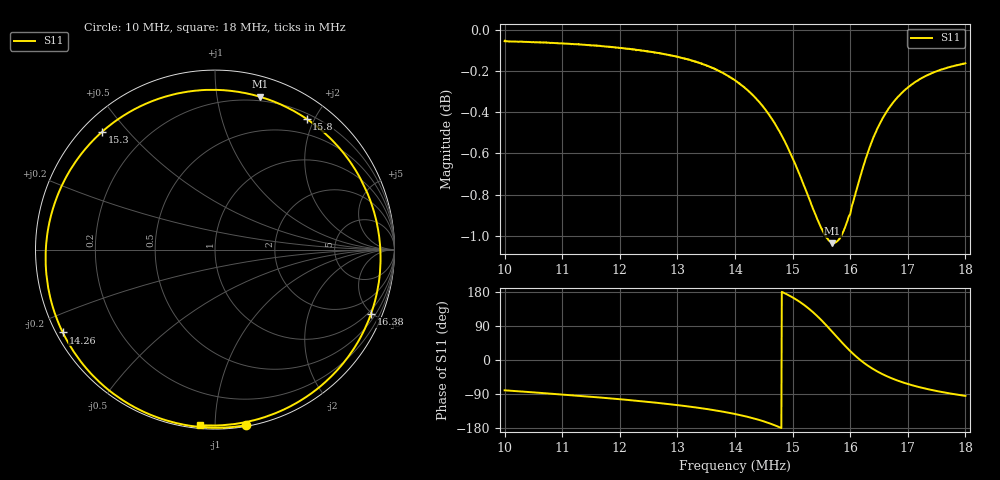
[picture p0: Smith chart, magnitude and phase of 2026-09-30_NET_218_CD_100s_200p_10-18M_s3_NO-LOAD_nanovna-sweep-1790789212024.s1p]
! NanoVNA Web complex sweep
! Processing: unaveraged complex samples; linear segment spacing; no smoothing
# Hz S RI R 50
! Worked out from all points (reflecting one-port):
!   1010 points, 10 MHz to 18 MHz, reference 50 ohm
!   lowest |S11| = -1.0 dB at 15.69 MHz (marker M1), VSWR 16.76, Z = 8.24 + j66.1 ohm
!   phase of S11 starts at -80 deg and turns -375 deg over the sweep
!   S11 on the Smith chart (normalised r, x): 10 MHz: 0.01, -1.19; 14.26 MHz: 0.02, -0.25; 15.3 MHz: 0.06, +0.43; 15.8 MHz: 0.27, +1.89; 16.38 MHz: 0.80, -4.92; 18 MHz: 0.02, -0.92
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1e7  0.1731 -0.9786
1.100698e7  -0.0196 -0.9922
1.200604e7  -0.2321 -0.9624
1.300509e7  -0.4787 -0.8609
1.355219e7  -0.6342 -0.7469
1.400414e7  -0.7721 -0.5907
1.425787e7  -0.8481 -0.4618
1.464639e7  -0.9359 -0.1702
1.484462e7  -0.9398 0.0398
1.50032e7  -0.8985 0.2421
1.515385e7  -0.7991 0.4556
1.529657e7  -0.6284 0.6571
1.539965e7  -0.4502 0.7813
1.551066e7  -0.2089 0.8699
1.56058e7  0.0271 0.8894
1.569302e7  0.2491 0.8517
1.580403e7  0.5106 0.7281
1.59071e7  0.7049 0.5517
1.600225e7  0.8281 0.358
1.608947e7  0.8952 0.1747
1.617669e7  0.9213 -0.00321
1.638284e7  0.869 -0.3584
1.651764e7  0.7862 -0.5315
1.666036e7  0.6833 -0.6696
1.681894e7  0.565 -0.7798
1.700131e7  0.4352 -0.865
1.742154e7  0.18 -0.9594
1.800036e7  -0.0812 -0.9782
